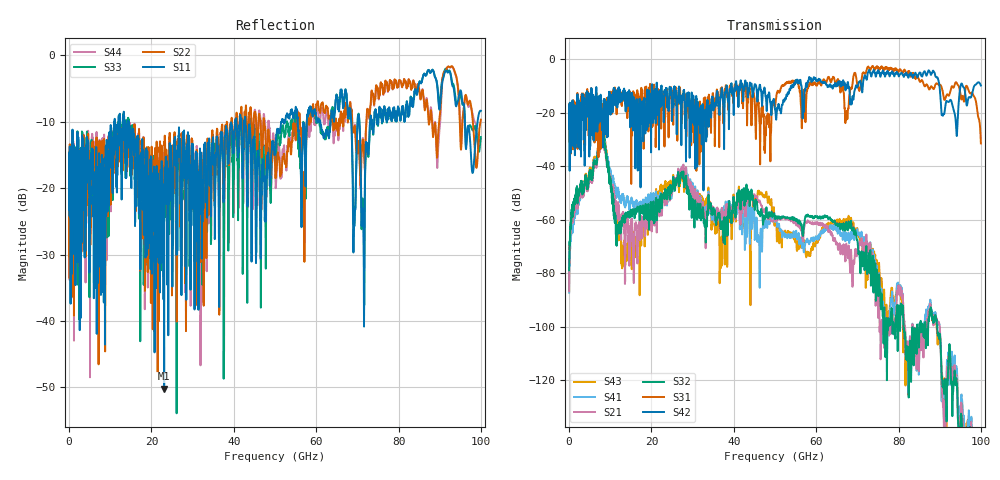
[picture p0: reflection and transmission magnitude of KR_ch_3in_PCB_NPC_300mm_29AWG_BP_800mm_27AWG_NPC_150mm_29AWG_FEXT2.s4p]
# GHz S RI R 45
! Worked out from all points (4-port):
!   4000 points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, 25 MHz to 100 GHz, reference 45 ohm
!   strongest paths, dB at 25 MHz, 25.02 GHz, 50.02 GHz, 75.03 GHz, 100 GHz:
!     S42: -21.2, -20.7, -18.6, -4.1, -9.8
!     S31: -21.2, -13.7, -17.5, -2.9, -31.4
!     S32: -78.9, -48.6, -59.7, -86.2, -145.6
!     S21: -86.8, -49.2, -60.4, -92.7, -148.4
!     S41: -87.3, -49.9, -60.3, -83.8, -139.9
!     S43: -87.1, -46.8, -59.7, -81.1, -139.8
!   lowest |S11| = -50.2 dB at 23.1 GHz (marker M1), VSWR 1.01, Z = 45 - j0.275 ohm
!   |S11| at or under -10 dB: start of sweep to 11.02 GHz; 14.38 GHz to 40.34 GHz (25.96 GHz wide, 94.9 % of centre); 42.82 GHz to 51.61 GHz (8.794 GHz wide, 18.6 % of centre) (the widest 3 of 36)
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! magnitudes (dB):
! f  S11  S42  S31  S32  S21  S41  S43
! 25 MHz  -16.7  -21.2  -21.2  -78.9  -86.8  -87.3  -87.1
! 8 GHz  -16.0  -26.2  -24.8  -27.0  -28.7  -27.3  -25.6
! 13.22 GHz  -9.0  -11.8  -13.4  -59.6  -58.8  -51.9  -70.0
! 23.1 GHz  -50.2  -15.1  -20.0  -50.1  -50.6  -50.4  -47.1
! 47.8 GHz  -20.7  -14.2  -28.4  -57.8  -57.6  -60.8  -50.5
! 77.12 GHz  -9.8  -5.1  -2.8  -106.3  -108.2  -103.6  -96.7
! 100 GHz  -8.3  -9.8  -31.4  -145.6  -148.4  -139.9  -139.8
